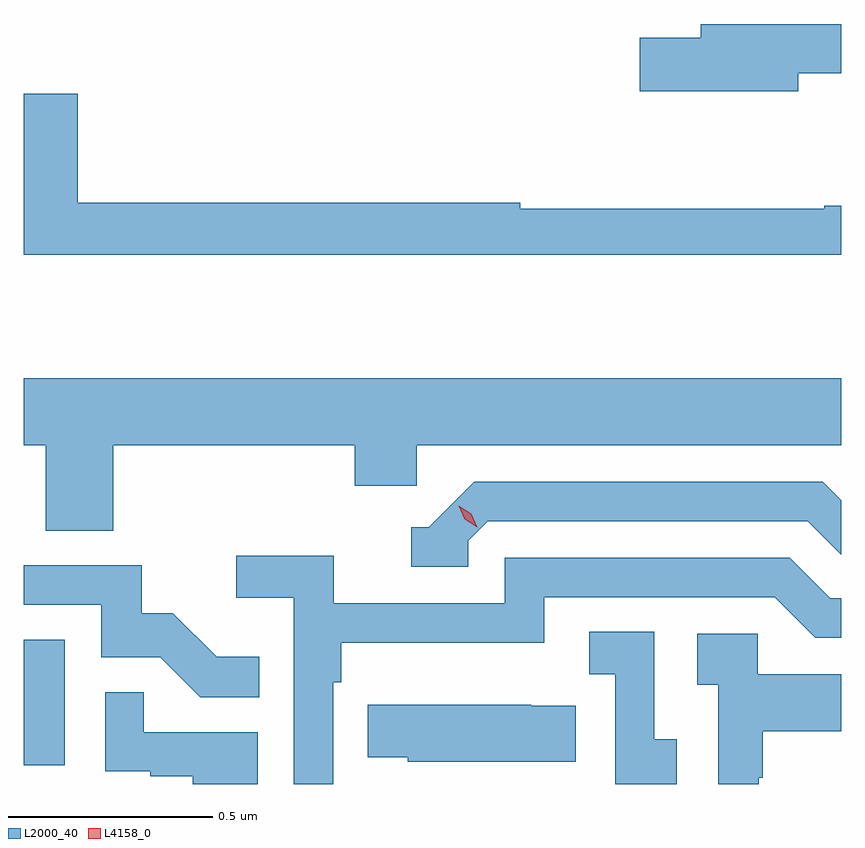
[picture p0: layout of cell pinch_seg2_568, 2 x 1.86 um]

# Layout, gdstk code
import gdstk
lib = gdstk.Library(unit=1e-6, precision=1e-09)
def R(c, l, rs):  # rectangles x0, y0, x1, y1
    for r in rs: c.add(gdstk.rectangle(r[:2], r[2:], *l))
def P(c, l, *ps):  # polygons
    for p in ps: c.add(gdstk.Polygon(p, *l))
L2000_40 = (2000, 40)
L4158_0 = (4158, 0)

pinch_seg2_568 = lib.new_cell('pinch_seg2_568')
R(pinch_seg2_568, L2000_40, [(1103.555,606.894,1103.656,607.201)])
P(pinch_seg2_568, L2000_40, [(1105.45,608.586),(1105.555,608.586),(1105.555,608.707),(1105.211,608.707),(1105.211,608.673),(1105.062,608.673),(1105.062,608.543),(1105.45,608.543)],
  [(1105.555,608.263),(1105.513,608.263),(1105.513,608.255),(1104.77,608.255),(1104.77,608.27),(1103.687,608.27),(1103.687,608.536),(1103.555,608.536),(1103.555,608.142),(1105.555,608.142)],
  [(1103.774,607.676),(1104.365,607.676),(1104.365,607.578),(1104.516,607.578),(1104.516,607.676),(1105.555,607.676),(1105.555,607.84),(1103.555,607.84),(1103.555,607.676),(1103.609,607.676),(1103.609,607.468),(1103.774,607.468)],
  [(1104.642,607.443),(1104.69,607.491),(1105.473,607.491),(1105.555,607.409),(1105.555,607.542),(1105.51,607.587),(1104.657,607.587),(1104.546,607.476),(1104.503,607.476),(1104.503,607.38),(1104.642,607.38)],
  [(1104.312,607.097),(1104.332,607.097),(1104.332,607.193),(1104.828,607.193),(1104.828,607.305),(1105.392,607.305),(1105.491,607.206),(1105.555,607.206),(1105.555,607.302),(1105.528,607.302),(1105.429,607.401),(1104.732,607.401),(1104.732,607.29),(1104.314,607.29),(1104.314,607.406),(1104.075,607.406),(1104.075,607.304),(1104.216,607.304),(1104.216,606.848),(1104.312,606.848)],
  [(1104.131,607.159),(1104.027,607.159),(1103.92,607.266),(1103.844,607.266),(1103.844,607.383),(1103.555,607.383),(1103.555,607.287),(1103.745,607.287),(1103.745,607.158),(1103.889,607.158),(1103.987,607.06),(1104.131,607.06)],
  [(1105.153,606.957),(1105.098,606.957),(1105.098,607.22),(1104.939,607.22),(1104.939,607.117),(1105.002,607.117),(1105.002,606.848),(1105.153,606.848)],
  [(1105.353,606.863),(1105.363,606.863),(1105.363,606.977),(1105.555,606.977),(1105.555,607.117),(1105.35,607.117),(1105.35,607.215),(1105.203,607.215),(1105.203,607.091),(1105.254,607.091),(1105.254,606.848),(1105.353,606.848)],
  [(1104.127,606.975),(1103.849,606.975),(1103.849,607.073),(1103.754,607.073),(1103.754,606.879),(1103.865,606.879),(1103.865,606.867),(1103.969,606.867),(1103.969,606.848),(1104.127,606.848)],
  [(1104.905,607.039),(1104.797,607.039),(1104.797,607.042),(1104.397,607.042),(1104.397,606.913),(1104.495,606.913),(1104.495,606.902),(1104.905,606.902)])
P(pinch_seg2_568, L4158_0, [(1104.665,607.476),(1104.634,607.496),(1104.619,607.529),(1104.619,607.529),(1104.619,607.529),(1104.65,607.509),(1104.665,607.476),(1104.665,607.476)])

lib.write_gds('pinch_seg2_568.gds')
